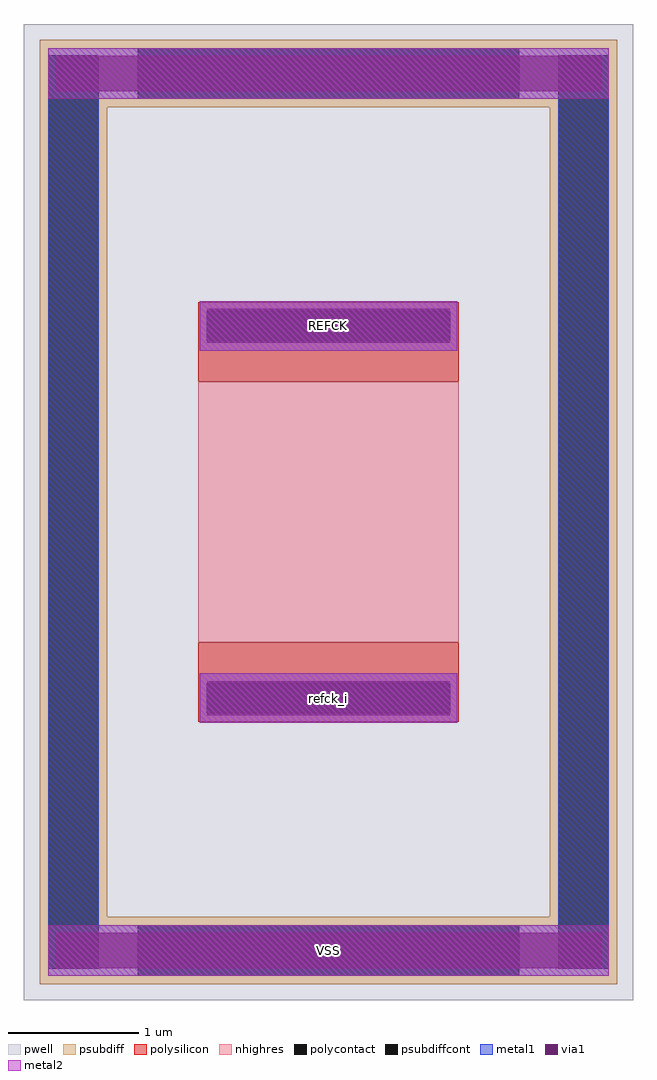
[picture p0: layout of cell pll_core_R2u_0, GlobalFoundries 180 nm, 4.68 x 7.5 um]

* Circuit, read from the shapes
.subckt pll_core_R2u_0 refck_i REFCK VSS
XR1 REFCK refck_i VSS ppolyf_u_1k r_width=2u r_length=2u
.ends

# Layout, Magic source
magic
tech gf180mcuD
magscale 1 10
<< pwell >>
rect -468 -464 468 1036
<< psubdiff >>
rect -444 -440 444 -336
rect -444 908 444 1012
rect -444 -336 -340 908
rect 340 -336 444 908
<< polysilicon >>
rect -200 486 200 608
rect -200 -36 200 86
<< nhighres >>
rect -200 86 200 486
<< psubdiffcont >>
rect -431 -416 -353 988
rect 353 -416 431 988
rect -293 921 293 999
rect -293 -427 293 -349
<< polycontact >>
rect -187 549 187 595
rect -187 -23 187 23
<< metal1 >>
rect -198 549 198 595
rect -198 -23 198 23
rect -198 -38 198 38
rect -198 534 198 610
rect -431 -427 431 -349
rect -431 921 431 999
rect -431 -427 -353 999
rect 353 -427 431 999
rect -431 -427 431 -349
rect -431 921 431 999
<< metal2 >>
rect -198 -38 198 38
rect -198 534 198 610
rect -431 -427 431 -349
rect -431 921 431 999
<< via1 >>
rect -186 -26 186 26
rect -186 546 186 598
rect -419 -415 419 -361
rect -419 933 419 987
<< labels >>
flabel metal2 s -198 -38 198 38 0 FreeSans 80 0 0 0 refck_i
port 1 nsew signal bidirectional
flabel metal2 s -198 534 198 610 0 FreeSans 80 0 0 0 REFCK
port 2 nsew signal bidirectional
flabel metal2 s -431 -427 431 -349 0 FreeSans 80 0 0 0 VSS
port 3 nsew signal bidirectional
<< end >>
